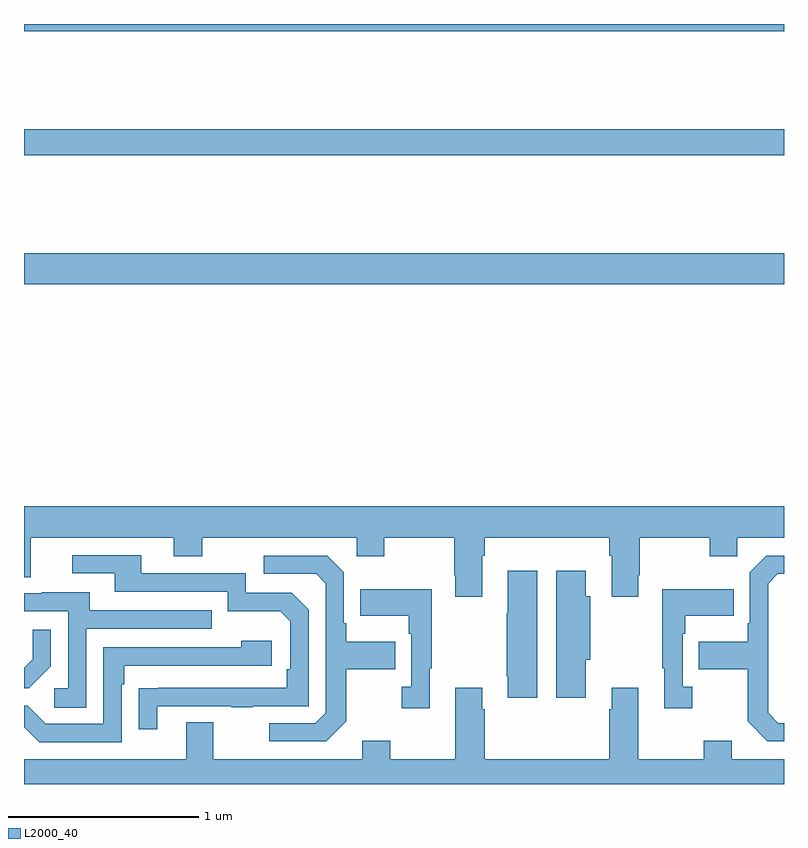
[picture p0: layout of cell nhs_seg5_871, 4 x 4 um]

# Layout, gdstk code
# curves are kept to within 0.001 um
import gdstk
lib = gdstk.Library(unit=1e-6, precision=1e-09)
def R(c, l, rs):  # rectangles x0, y0, x1, y1
    for r in rs: c.add(gdstk.rectangle(r[:2], r[2:], *l))
def P(c, l, *ps):  # polygons
    for p in ps: c.add(gdstk.Polygon(p, *l))
L2000_40 = (2000, 40)

nhs_seg5_871 = lib.new_cell('nhs_seg5_871')
R(nhs_seg5_871, L2000_40, [(167,855.428,171,855.592), (167,856.108,171,856.244), (167,856.76,171,856.799)])
P(nhs_seg5_871, L2000_40, [(169.411,854),(169.424,854),(169.424,854.096),(170.081,854.096),(170.081,854),(170.093,854),(170.093,853.785),(170.233,853.785),(170.233,853.897),(170.241,853.897),(170.241,854.096),(170.608,854.096),(170.608,853.997),(170.754,853.997),(170.754,854.096),(171,854.096),(171,854.26),(167,854.26),(167,853.888),(167.035,853.888),(167.035,854.096),(167.789,854.096),(167.789,853.997),(167.937,853.997),(167.937,854.096),(168.75,854.096),(168.75,853.997),(168.897,853.997),(168.897,854.096),(169.264,854.096),(169.264,853.897),(169.271,853.897),(169.271,853.785),(169.411,853.785)],
  [(167.701,853.209),(168.091,853.209),(168.091,853.204),(168.203,853.204),(168.203,853.209),(168.498,853.209),(168.498,853.716),(168.408,853.806),(168.168,853.806),(168.168,853.908),(167.617,853.908),(167.617,854.004),(167.253,854.004),(167.253,853.908),(167.477,853.908),(167.477,853.812),(168.072,853.812),(168.072,853.709),(168.349,853.709),(168.402,853.656),(168.402,853.402),(168.382,853.402),(168.382,853.305),(167.605,853.304),(167.605,853.086),(167.701,853.086)],
  [(168.697,853.129),(168.697,853.402),(168.953,853.402),(168.953,853.549),(168.697,853.549),(168.697,853.645),(168.684,853.645),(168.684,853.914),(168.597,854.001),(168.261,854.001),(168.261,853.905),(168.537,853.905),(168.588,853.854),(168.588,853.173),(168.534,853.119),(168.291,853.119),(168.291,853.023),(168.591,853.023)],
  [(171,853.119),(170.97,853.119),(170.916,853.173),(170.916,853.854),(170.967,853.905),(171,853.905),(171,854.001),(170.907,854.001),(170.82,853.914),(170.82,853.645),(170.808,853.645),(170.808,853.549),(170.551,853.549),(170.551,853.402),(170.808,853.402),(170.808,853.129),(170.913,853.023),(171,853.023)],
  [(169.957,853.452),(169.981,853.452),(169.981,853.788),(169.957,853.788),(169.957,853.921),(169.802,853.921),(169.802,853.254),(169.957,853.254)],
  [(169.702,853.921),(169.547,853.921),(169.547,853.697),(169.54,853.697),(169.54,853.366),(169.547,853.366),(169.547,853.254),(169.702,853.254)],
  [(170.518,853.31),(170.466,853.31),(170.466,853.589),(170.479,853.589),(170.479,853.685),(170.735,853.685),(170.735,853.825),(170.358,853.825),(170.358,853.409),(170.369,853.409),(170.369,853.197),(170.518,853.197)],
  [(169.135,853.409),(169.147,853.409),(169.147,853.825),(168.769,853.825),(168.769,853.685),(169.026,853.685),(169.026,853.589),(169.038,853.589),(169.038,853.31),(168.987,853.31),(168.987,853.197),(169.135,853.197)],
  [(167.328,853.617),(167.987,853.617),(167.987,853.713),(167.347,853.713),(167.347,853.807),(167.093,853.807),(167.093,853.803),(167,853.803),(167,853.707),(167.232,853.707),(167.232,853.302),(167.16,853.302),(167.16,853.201),(167.328,853.201)],
  [(167.142,853.418),(167.142,853.612),(167.045,853.612),(167.045,853.455),(167,853.41),(167,853.302),(167.026,853.302)],
  [(167.514,853.325),(167.527,853.325),(167.527,853.422),(168.304,853.422),(168.304,853.552),(168.143,853.552),(168.143,853.518),(167.418,853.518),(167.418,853.116),(167.115,853.116),(167.019,853.212),(167,853.212),(167,853.099),(167.079,853.02),(167.514,853.02)],
  [(171,852.928),(170.725,852.928),(170.725,853.027),(170.578,853.027),(170.578,852.928),(170.233,852.928),(170.233,853.306),(170.093,853.306),(170.093,853.193),(170.081,853.193),(170.081,852.928),(169.424,852.928),(169.424,853.193),(169.411,853.193),(169.411,853.306),(169.271,853.306),(169.271,852.928),(168.927,852.928),(168.927,853.027),(168.779,853.027),(168.779,852.928),(167.995,852.928),(167.995,853.123),(167.855,853.123),(167.855,852.928),(167,852.928),(167,852.799),(171,852.799)])

lib.write_gds('nhs_seg5_871.gds')
